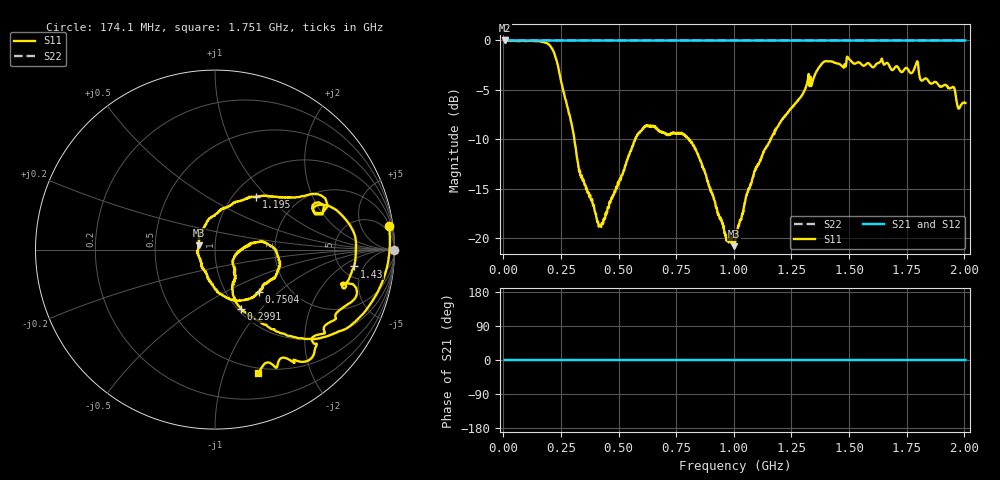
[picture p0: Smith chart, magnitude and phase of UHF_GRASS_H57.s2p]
!Keysight Technologies N9923A: A.08.09
!Date: Wednesday, 01 August 2018 07:25:48
!Timezone: (GMT+08:00) Kuala Lumpur, Singapore
!Model: N9923A
!Serial: MY52412143
!GPS Latitude:
!GPS Longitude:
!GPS TimeStamp: 0001-01-01 00:00:00Z
!GPS Seconds Since Last Read: 0
!CHECKSUM:0298729584
!Correction: S11(ON U)S21()S12()S22()
!S2P File: Measurements:S11,S21,S12,S22:
# Hz S DB R 50
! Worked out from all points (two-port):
!   2000 points, 5 MHz to 2.005 GHz, reference 50 ohm
!   highest |S21| = 0.00 dB at 5 MHz (marker M1); lowest = 0.0 dB at 5 MHz (marker M2)
!   |S21| within 3 dB of the highest: start of sweep to end of sweep
!   lowest |S11| = -20.8 dB at 1.001 GHz (marker M3), VSWR 1.20, Z = 41.9 + j2.03 ohm
!   |S11| at or under -10 dB: 307.7 MHz to 571.5 MHz (263.8 MHz wide, 60 % of centre); 805.4 MHz to 1.16 GHz (354.4 MHz wide, 36.1 % of centre)
!   |S22| runs from 0.0 to 0.0 dB; largest |S21 - S12| = 0
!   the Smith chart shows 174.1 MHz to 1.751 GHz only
!   S11 on the Smith chart (normalised r, x): 174.1 MHz: 2, +15; 299.1 MHz: 1.04, -0.79; 750.4 MHz: 1.42, -0.75; 1.195 GHz: 1.26, +0.87; 1.43 GHz: 6.57, -3.15; 1.751 GHz: 0.45, -1.30
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5000000  -0.03 172.8  0.00 0.0  0.00 0.0  0.00 0.0
4.201851e7  -0.05 123.3  0.00 0.0  0.00 0.0  0.00 0.0
7.303402e7  -0.06 88.4  0.00 0.0  0.00 0.0  0.00 0.0
1.23059e8  -0.04 44.9  0.00 0.0  0.00 0.0  0.00 0.0
1.740845e8  -0.18 7.6  0.00 0.0  0.00 0.0  0.00 0.0
2.301126e8  -1.99 -37.0  0.00 0.0  0.00 0.0  0.00 0.0
2.991471e8  -8.83 -66.2  0.00 0.0  0.00 0.0  0.00 0.0
3.391671e8  -13.78 -58.3  0.00 0.0  0.00 0.0  0.00 0.0
4.232091e8  -18.84 -20.7  0.00 0.0  0.00 0.0  0.00 0.0
5.812881e8  -9.58 0.7  0.00 0.0  0.00 0.0  0.00 0.0
6.723337e8  -9.05 -29.2  0.00 0.0  0.00 0.0  0.00 0.0
7.503727e8  -9.36 -43.8  0.00 0.0  0.00 0.0  0.00 0.0
8.354152e8  -11.06 -75.4  0.00 0.0  0.00 0.0  0.00 0.0
1.001498e9  -20.80 164.7  0.00 0.0  0.00 0.0  0.00 0.0
1.0055e9  -20.28 158.6  0.00 0.0  0.00 0.0  0.00 0.0
1.194595e9  -8.54 52.2  0.00 0.0  0.00 0.0  0.00 0.0
1.338667e9  -4.37 23.4  0.00 0.0  0.00 0.0  0.00 0.0
1.429712e9  -2.15 -6.9  0.00 0.0  0.00 0.0  0.00 0.0
1.671833e9  -2.44 -55.4  0.00 0.0  0.00 0.0  0.00 0.0
1.750873e9  -2.79 -70.9  0.00 0.0  0.00 0.0  0.00 0.0
1.793894e9  -2.19 -80.9  0.00 0.0  0.00 0.0  0.00 0.0
2.005e9  -6.33 -136.3  0.00 0.0  0.00 0.0  0.00 0.0
